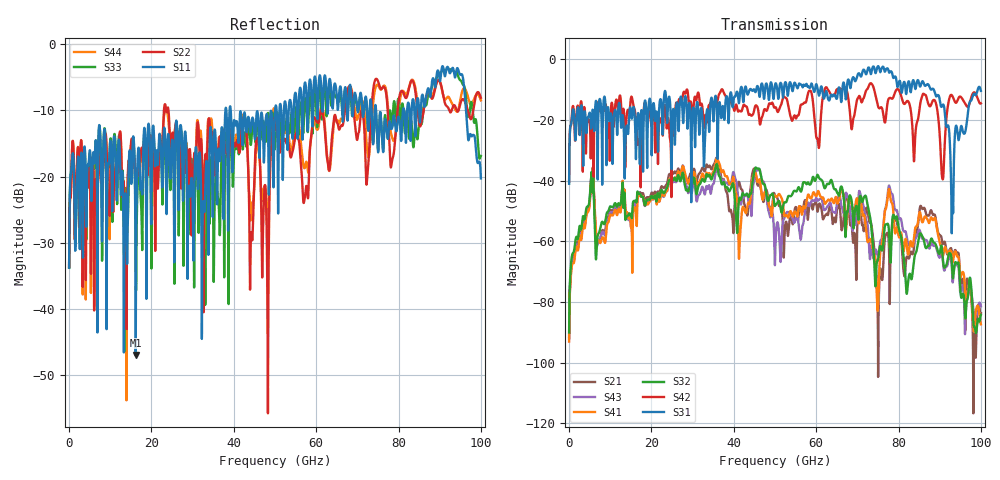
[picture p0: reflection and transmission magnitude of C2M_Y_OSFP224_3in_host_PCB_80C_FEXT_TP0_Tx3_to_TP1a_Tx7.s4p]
# GHz S RI R 45
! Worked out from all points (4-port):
!   4000 points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, 25 MHz to 100 GHz, reference 45 ohm
!   strongest paths, dB at 25 MHz, 25.02 GHz, 50.02 GHz, 75.03 GHz, 100 GHz:
!     S31: -41.1, -22.7, -8.5, -2.3, -10.4
!     S42: -40.5, -26.4, -15.9, -15.6, -14.6
!     S32: -90.1, -39.3, -48.4, -66.0, -84.3
!     S41: -93.0, -39.0, -45.1, -81.2, -87.4
!     S43: -92.1, -40.3, -67.0, -64.8, -81.4
!     S21: -91.6, -37.2, -45.0, -93.9, -83.7
!   lowest |S11| = -46.9 dB at 16.2 GHz (marker M1), VSWR 1.01, Z = 45.3 - j0.244 ohm
!   |S11| at or under -10 dB: start of sweep to 37.97 GHz; 39.27 GHz to 50.03 GHz (10.76 GHz wide, 24.1 % of centre); 74.55 GHz to 81.06 GHz (6.516 GHz wide, 8.38 % of centre) (the widest 3 of 27)
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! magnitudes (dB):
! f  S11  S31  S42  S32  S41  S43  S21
! 25 MHz  -33.7  -41.1  -40.5  -90.1  -93.0  -92.1  -91.6
! 5.575 GHz  -21.9  -19.0  -19.7  -41.1  -41.1  -41.1  -41.0
! 16.2 GHz  -46.9  -31.1  -20.0  -46.7  -49.5  -48.4  -47.6
! 76.22 GHz  -16.1  -2.5  -17.5  -61.8  -57.5  -56.4  -70.1
! 90.67 GHz  -3.3  -15.2  -39.4  -64.4  -64.6  -65.3  -60.7
! 93.03 GHz  -3.6  -48.9  -12.0  -69.0  -65.9  -71.0  -64.5
! 100 GHz  -20.3  -10.4  -14.6  -84.3  -87.4  -81.4  -83.7
